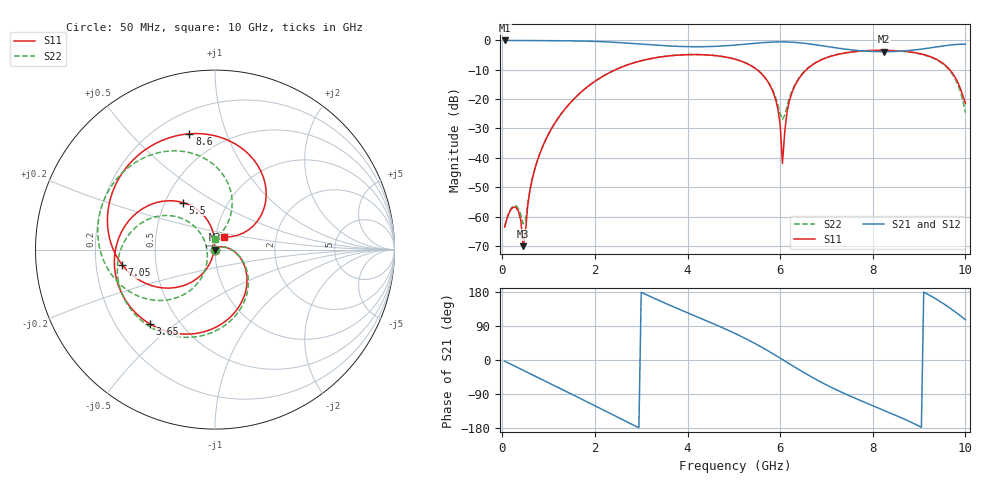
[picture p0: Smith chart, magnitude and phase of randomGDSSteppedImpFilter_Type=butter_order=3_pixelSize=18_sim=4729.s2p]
! freq	dB(S11)	phase(S11)	dB(S12)	phase(S12)
!  dB(S21)	phase(S21)	dB(S22)	phase(S22)
!S-par simulation data
#  GHz  S  DB  R 50
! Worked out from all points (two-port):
!   200 points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, 50 MHz to 10 GHz, reference 50 ohm
!   highest |S21| = -0.01 dB at 50 MHz (marker M1); lowest = -3.8 dB at 8.25 GHz (marker M2)
!   |S21| within 3 dB of the highest: start of sweep to 7.428 GHz; 9.028 GHz to end of sweep
!   lowest |S11| = -70.1 dB at 450 MHz (marker M3), VSWR 1.00, Z = 50 - j0.0114 ohm
!   |S11| at or under -10 dB: start of sweep to 2.442 GHz; 5.502 GHz to 6.567 GHz (1.065 GHz wide, 17.6 % of centre); 9.663 GHz to end of sweep
!   |S22| runs from -63.3 to -3.4 dB; largest |S21 - S12| = 0
!   S11 on the Smith chart (normalised r, x): 50 MHz: 1.00, -0.00; 3.65 GHz: 0.34, -0.41; 5.5 GHz: 0.62, +0.36; 7.05 GHz: 0.31, -0.07; 8.6 GHz: 0.33, +0.75; 10 GHz: 1.09, +0.15
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0.05  -63.61 -35.0  -0.01 -3.0  -0.01 -3.0  -63.33 -35.7
0.3  -56.99 -94.8  -0.03 -18.0  -0.03 -18.0  -56.38 -83.8
0.45  -70.10 -158.5  -0.04 -26.9  -0.04 -26.9  -62.51 -49.1
0.6  -50.82 62.8  -0.05 -35.9  -0.05 -35.9  -50.67 40.8
0.85  -36.96 43.2  -0.06 -50.8  -0.06 -50.8  -36.98 36.4
1.75  -16.94 -16.2  -0.21 -105.6  -0.21 -105.6  -16.93 -15.6
2.55  -9.26 -67.2  -0.75 -154.9  -0.75 -154.9  -9.24 -63.5
3.4  -5.67 -117.3  -1.69 156.2  -1.69 156.2  -5.65 -110.6
3.65  -5.19 -131.0  -1.92 142.8  -1.92 142.8  -5.17 -123.4
5.05  -6.49 152.9  -1.55 68.7  -1.55 68.7  -6.47 167.5
5.5  -9.97 124.3  -0.91 40.7  -0.91 40.7  -9.92 143.5
5.9  -19.99 96.7  -0.51 12.5  -0.51 12.5  -19.33 133.0
6  -28.62 93.2  -0.49 5.1  -0.49 5.1  -24.92 153.5
6.05  -41.89 153.6  -0.49 1.3  -0.49 1.3  -26.95 -175.5
6.2  -20.58 -111.4  -0.55 -10.0  -0.55 -10.0  -19.56 -117.8
6.7  -8.29 -147.2  -1.34 -46.3  -1.34 -46.3  -8.19 -133.8
7.05  -5.61 -170.7  -2.17 -68.9  -2.17 -68.9  -5.55 -153.4
8.25  -3.37 121.5  -3.84 -133.2  -3.84 -133.2  -3.39 148.7
8.35  -3.40 116.1  -3.82 -138.3  -3.82 -138.3  -3.42 144.1
8.6  -3.60 102.4  -3.66 -151.5  -3.66 -151.5  -3.64 132.3
9.6  -8.94 40.1  -1.71 142.6  -1.71 142.6  -9.21 75.8
10  -21.40 56.0  -1.28 106.5  -1.28 106.5  -24.60 91.7
